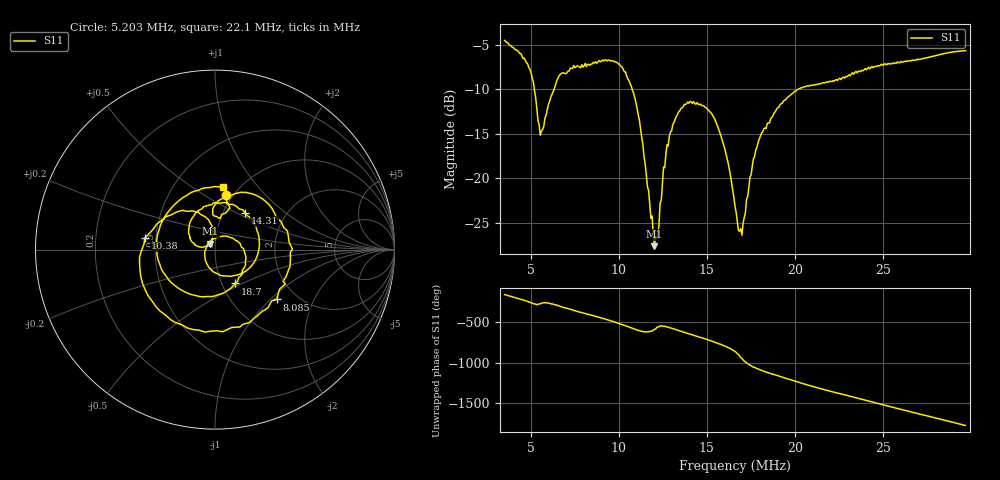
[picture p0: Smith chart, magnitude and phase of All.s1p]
# Hz S RI R 50
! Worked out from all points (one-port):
!   401 points, 3.5 MHz to 29.7 MHz, reference 50 ohm
!   lowest |S11| = -27.6 dB at 12.02 MHz (marker M1), VSWR 1.09, Z = 47.4 + j3.1 ohm
!   |S11| at or under -10 dB: 5.192 MHz to 6.312 MHz (1.12 MHz wide, 19.5 % of centre); 10.76 MHz to 20.17 MHz (9.412 MHz wide, 60.9 % of centre)
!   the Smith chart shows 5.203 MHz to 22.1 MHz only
!   S11 on the Smith chart (normalised r, x): 5.203 MHz: 0.93, +0.62; 8.085 MHz: 1.59, -1.10; 10.38 MHz: 0.43, +0.07; 14.31 MHz: 1.27, +0.56; 18.7 MHz: 1.16, -0.46; 22.1 MHz: 0.85, +0.67
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3500000  -0.5772 -0.1495
4548000  -0.295 0.3695
5203000  0.0611 0.3042
5596000  0.00707 0.1848
6775000  0.2952 0.2569
8085000  0.3453 -0.2775
9133000  -0.0891 -0.4486
1.005e7  -0.4171 -0.1182
1.03775e7  -0.3911 0.0638
1.1098e7  -0.0924 0.2076
1.2015e7  -0.0257 0.0326
1.3325e7  -0.1121 0.199
1.43075e7  0.1678 0.2041
1.56175e7  0.1404 -0.136
1.66e7  -0.0556 -0.042
1.6993e7  -0.0307 0.0367
1.7779e7  0.1399 0.034
1.8696e7  0.1137 -0.1885
1.9875e7  -0.2276 -0.1966
2.0792e7  -0.3106 0.1121
2.2102e7  0.0438 0.347
2.315e7  0.3402 0.165
2.4067e7  0.3696 -0.1719
2.4984e7  0.104 -0.4199
2.6425e7  -0.4144 -0.188
2.72765e7  -0.4378 0.1786
2.8259e7  -0.1385 0.4781
2.97e7  0.462 0.2436
